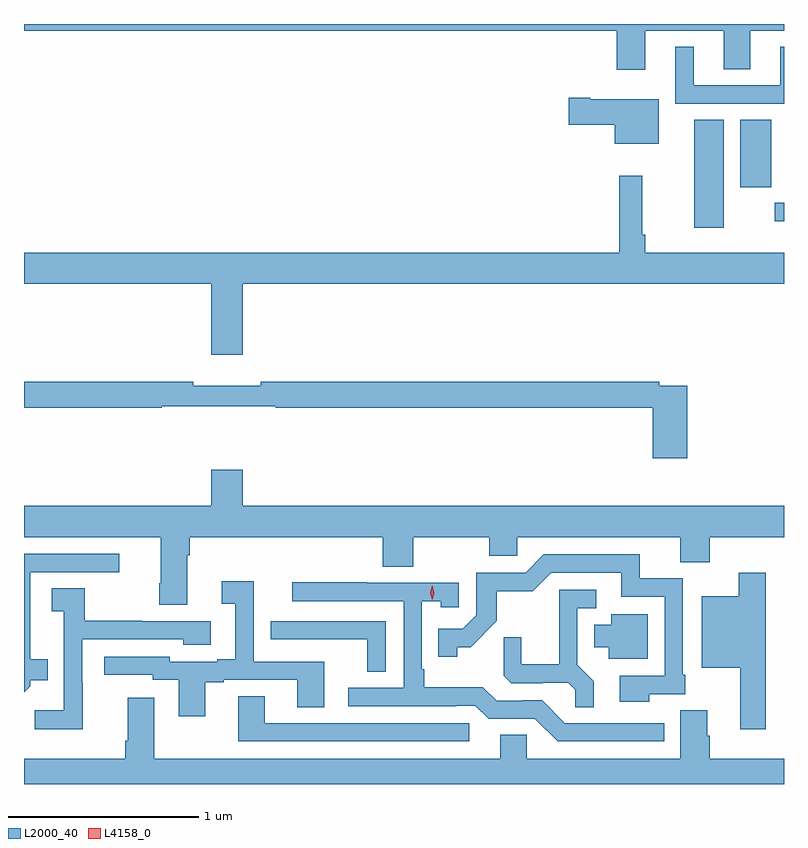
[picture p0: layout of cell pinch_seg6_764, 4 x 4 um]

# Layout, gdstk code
import gdstk
lib = gdstk.Library(unit=1e-6, precision=1e-09)
def R(c, l, rs):  # rectangles x0, y0, x1, y1
    for r in rs: c.add(gdstk.rectangle(r[:2], r[2:], *l))
def P(c, l, *ps):  # polygons
    for p in ps: c.add(gdstk.Polygon(p, *l))
L2000_40 = (2000, 40)
L4158_0 = (4158, 0)

pinch_seg6_764 = lib.new_cell('pinch_seg6_764')
R(pinch_seg6_764, L2000_40, [(347.369,975.603,347.524,976.172), (347.793,975.638,347.842,975.735), (347.612,975.816,347.776,976.172)])
P(pinch_seg6_764, L2000_40, [(347.113,976.64),(347.525,976.64),(347.525,976.438),(347.665,976.438),(347.665,976.64),(347.842,976.64),(347.842,976.676),(343.842,976.676),(343.842,976.64),(346.961,976.64),(346.961,976.434),(347.113,976.434)],
  [(347.842,976.555),(347.822,976.555),(347.822,976.353),(347.368,976.353),(347.368,976.555),(347.27,976.555),(347.27,976.257),(347.842,976.257)],
  [(347.182,976.279),(346.822,976.279),(346.822,976.287),(346.71,976.287),(346.71,976.145),(346.952,976.145),(346.952,976.046),(347.182,976.046)],
  [(344.992,975.308),(347.842,975.308),(347.842,975.472),(347.111,975.472),(347.111,975.568),(347.096,975.568),(347.096,975.877),(346.975,975.877),(346.975,975.472),(343.842,975.472),(343.842,975.308),(344.828,975.308),(344.828,974.934),(344.992,974.934)],
  [(347.333,974.772),(347.186,974.772),(347.186,974.792),(345.088,974.792),(345.088,974.773),(344.732,974.773),(344.732,974.792),(343.842,974.792),(343.842,974.656),(344.566,974.656),(344.566,974.664),(345.166,974.664),(345.166,974.656),(347.15,974.656),(347.15,974.391),(347.333,974.391)],
  [(344.701,973.88),(344.714,973.88),(344.714,973.976),(345.731,973.976),(345.731,973.819),(345.891,973.819),(345.891,973.976),(346.291,973.976),(346.291,973.878),(346.437,973.878),(346.437,973.976),(347.297,973.976),(347.297,973.843),(347.45,973.843),(347.45,973.976),(347.842,973.976),(347.842,974.14),(344.992,974.14),(344.992,974.329),(344.828,974.329),(344.828,974.14),(343.842,974.14),(343.842,973.976),(344.561,973.976),(344.561,973.732),(344.554,973.732),(344.554,973.62),(344.701,973.62)],
  [(343.875,973.191),(343.875,973.223),(343.967,973.223),(343.967,973.333),(343.876,973.333),(343.876,973.791),(344.344,973.791),(344.344,973.887),(343.842,973.887),(343.842,973.158)],
  [(347.133,973.149),(347.323,973.149),(347.323,973.252),(347.31,973.252),(347.31,973.758),(347.084,973.758),(347.084,973.884),(346.578,973.884),(346.482,973.788),(346.221,973.788),(346.221,973.563),(346.152,973.494),(346.021,973.494),(346.021,973.347),(346.122,973.347),(346.122,973.397),(346.192,973.397),(346.33,973.534),(346.33,973.69),(346.519,973.69),(346.617,973.788),(346.985,973.788),(346.985,973.662),(347.214,973.662),(347.214,973.245),(346.977,973.245),(346.977,973.109),(347.133,973.109)],
  [(347.746,973.789),(347.605,973.789),(347.605,973.663),(347.408,973.663),(347.408,973.289),(347.612,973.289),(347.612,972.963),(347.746,972.963)],
  [(344.797,973.212),(344.893,973.212),(344.893,973.224),(345.281,973.224),(345.281,973.081),(345.421,973.081),(345.421,973.32),(345.051,973.32),(345.051,973.744),(344.883,973.744),(344.883,973.624),(344.954,973.624),(344.954,973.333),(344.858,973.333),(344.858,973.32),(344.61,973.32),(344.61,973.347),(344.265,973.347),(344.265,973.251),(344.52,973.251),(344.52,973.224),(344.657,973.224),(344.657,973.032),(344.797,973.032)],
  [(347.212,972.996),(346.689,972.996),(346.569,973.116),(346.468,973.116),(346.468,973.113),(346.329,973.113),(346.256,973.186),(345.949,973.186),(345.949,973.279),(345.936,973.279),(345.936,973.637),(346.035,973.637),(346.035,973.605),(346.131,973.605),(346.131,973.734),(345.647,973.734),(345.647,973.737),(345.255,973.737),(345.255,973.638),(345.84,973.638),(345.84,973.182),(345.549,973.182),(345.549,973.086),(346.118,973.086),(346.118,973.089),(346.218,973.089),(346.287,973.02),(346.53,973.02),(346.65,972.9),(347.212,972.9)],
  [(344.151,973.205),(344.148,973.205),(344.148,973.437),(344.679,973.437),(344.679,973.409),(344.824,973.409),(344.824,973.533),(344.465,973.533),(344.465,973.536),(344.161,973.536),(344.161,973.706),(343.989,973.706),(343.989,973.585),(344.052,973.585),(344.052,973.063),(343.899,973.063),(343.899,972.965),(344.151,972.965)],
  [(346.841,973.217),(346.755,973.303),(346.755,973.602),(346.855,973.602),(346.855,973.698),(346.658,973.698),(346.658,973.306),(346.46,973.306),(346.46,973.449),(346.366,973.449),(346.366,973.247),(346.407,973.206),(346.572,973.206),(346.572,973.209),(346.706,973.209),(346.743,973.172),(346.743,973.081),(346.841,973.081)],
  [(347.125,973.57),(346.934,973.57),(346.934,973.513),(346.844,973.513),(346.844,973.397),(346.919,973.397),(346.919,973.334),(347.125,973.334)],
  [(345.747,973.533),(345.141,973.533),(345.141,973.438),(345.253,973.438),(345.253,973.437),(345.649,973.437),(345.649,973.267),(345.747,973.267)],
  [(346.186,972.996),(345.109,972.996),(345.109,973.139),(344.969,973.139),(344.969,972.9),(346.186,972.9)],
  [(347.842,972.808),(347.45,972.808),(347.45,972.93),(347.437,972.93),(347.437,973.064),(347.297,973.064),(347.297,972.808),(346.488,972.808),(346.488,972.935),(346.349,972.935),(346.349,972.808),(344.527,972.808),(344.527,973.129),(344.387,973.129),(344.387,972.904),(344.375,972.904),(344.375,972.808),(343.842,972.808),(343.842,972.676),(347.842,972.676)])
P(pinch_seg6_764, L4158_0, [(345.99,973.647),(345.99,973.647),(345.98,973.683),(345.99,973.719),(345.99,973.719),(345.99,973.719),(346,973.683),(345.99,973.647)])

lib.write_gds('pinch_seg6_764.gds')
